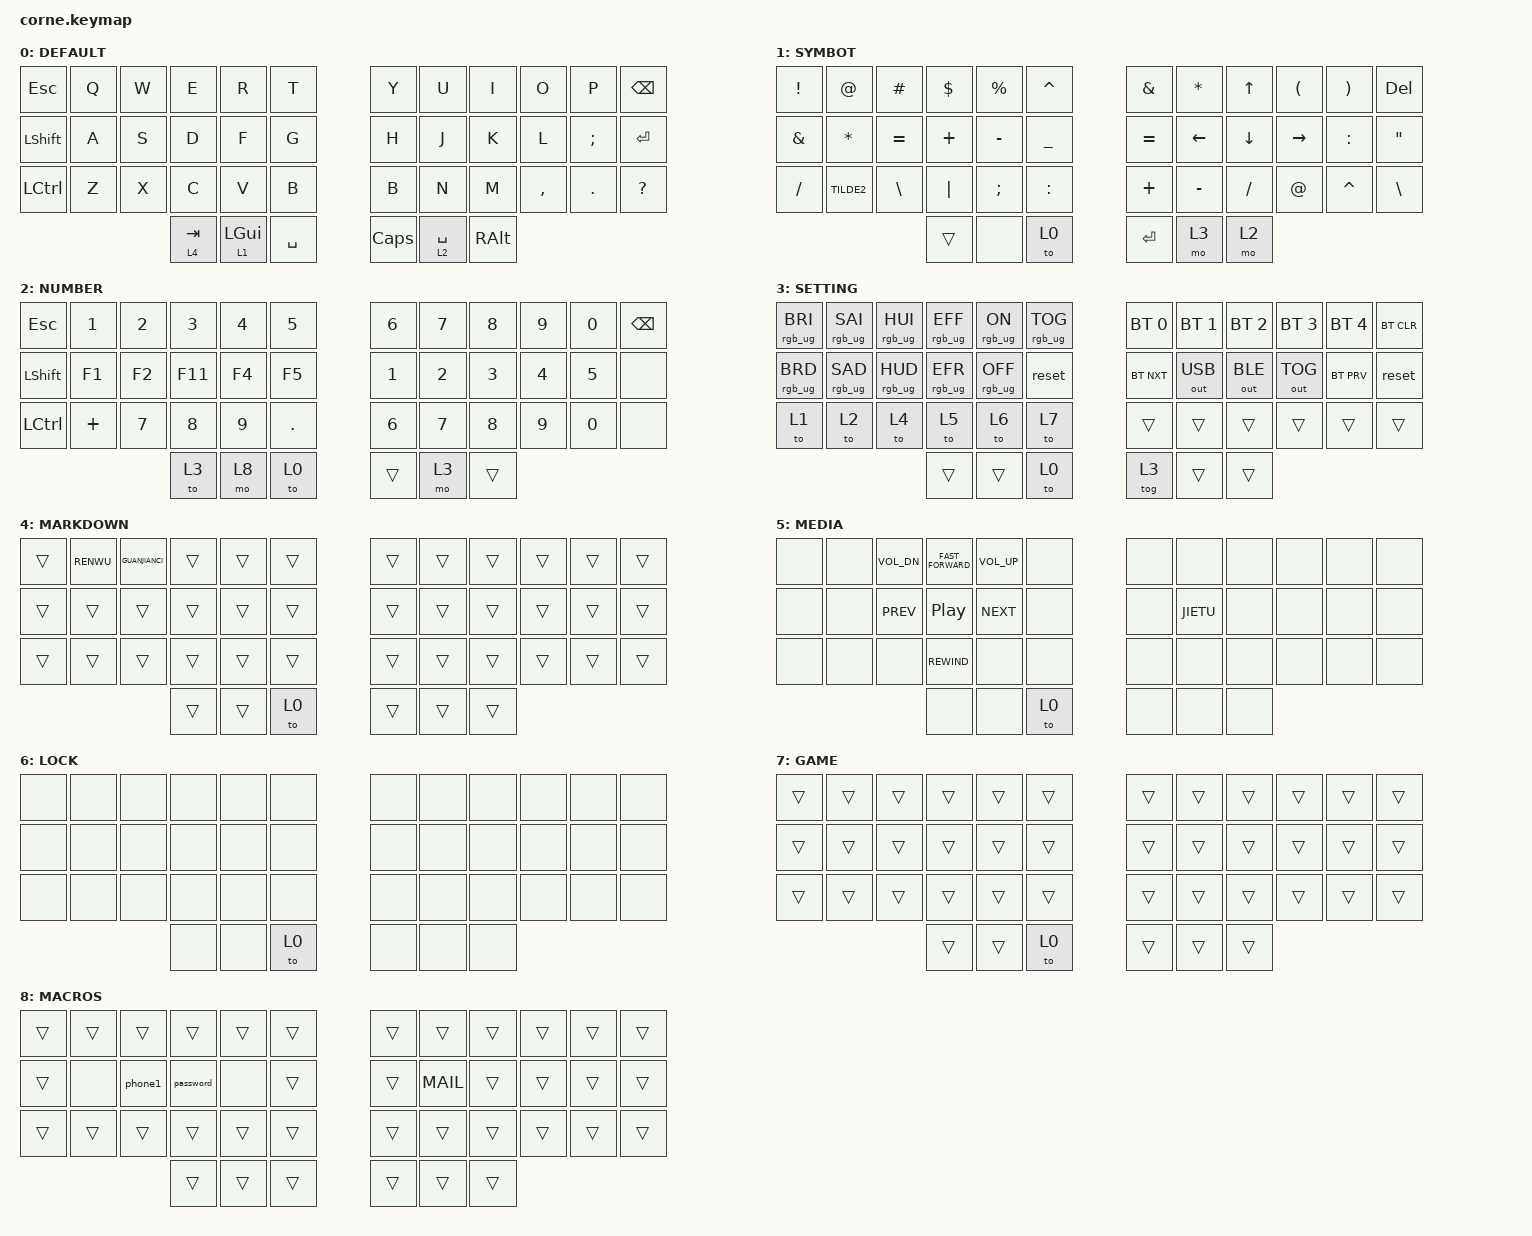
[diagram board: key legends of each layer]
/*
 * Copyright (c) 2020 The ZMK Contributors
 *
 * SPDX-License-Identifier: MIT
 */

#define DEFAULT  0
#define SYMBOT   1
#define NUMBER   2
#define SETTING  3
#define MARKDOWN 4
#define MEDIA    5
#define LOCK     6
#define GAME     7
#define MACROS   8

#include <behaviors.dtsi>
#include <dt-bindings/zmk/keys.h>
#include <dt-bindings/zmk/rgb.h>
#include <dt-bindings/zmk/bt.h>
#include <dt-bindings/zmk/outputs.h>

/ {
    behaviors {
        hm: homerow_mods {
            compatible = "zmk,behavior-hold-tap";
            label = "HOMEROW_MODS";
            #binding-cells = <2>;
            tapping-term-ms = <150>;
            quick-tap-ms = <0>;
            flavor = "tap-preferred";
            bindings =
                <&kp>,
                <&kp>;
        };
    };

    combos {
        compatible = "zmk,combos";

        tab {
            bindings = <&kp TAB>;
            key-positions = <0 1>;
            timeout-ms = <50>;
        };

        esc {
            bindings = <&kp ESC>;
            key-positions = <12 13>;
            timeout-ms = <50>;
        };

        up {
            bindings = <&kp UP>;
            key-positions = <7 8>;
            layers = <0 2>;
            timeout-ms = <50>;
        };

        down {
            bindings = <&kp DOWN>;
            key-positions = <31 32>;
            timeout-ms = <50>;
        };

        left {
            bindings = <&kp LEFT>;
            key-positions = <18 19>;
            layers = <0 2>;
            timeout-ms = <50>;
        };

        right {
            bindings = <&kp RIGHT>;
            key-positions = <20 21>;
            layers = <0 2>;
            timeout-ms = <50>;
        };

        mail {
            bindings = <&MAIL>;
            key-positions = <19 20 21>;
            timeout-ms = <50>;
        };

        phone1 {
            bindings = <&phone1>;
            key-positions = <37 11>;
            timeout-ms = <50>;
        };

        password {
            bindings = <&password>;
            key-positions = <2 3 4>;
        };
    };

    macros {
        JIETU: JIETU {
            compatible = "zmk,behavior-macro";
            label = "new_macro";
            #binding-cells = <0>;
            bindings =
                <&macro_press>,
                <&kp RCTRL &kp LEFT_ALT &kp A>;
        };
        RENWU: RENWU {
            compatible = "zmk,behavior-macro";
            label = "new_macro";
            #binding-cells = <0>;
            bindings = <&kp PLUS &kp SPACE &kp LEFT_BRACKET &kp RIGHT_BRACKET &kp SPACE>;
        };
        GUANJIANCI: GUANJIANCI {
            compatible = "zmk,behavior-macro";
            label = "new_macro";
            #binding-cells = <0>;
            bindings = <&kp LSHIFT &kp LBKT &kp RBKT &kp LEFT &kp LSHIFT>;
        };
        MAIL: MAIL {
            compatible = "zmk,behavior-macro";
            label = "new_macro";
            #binding-cells = <0>;
            bindings = <&kp AT_SIGN &kp M &kp O &kp Z &kp I &kp X &kp U &kp N &kp PERIOD &kp C &kp O &kp M>;
        };
        phone1: phone1 {
            compatible = "zmk,behavior-macro";
            label = "new_macro";
            #binding-cells = <0>;
            bindings = <&kp N1 &kp N5 &kp N5 &kp N6 &kp N7 &kp N8 &kp N1 &kp N2 &kp N1 &kp N1 &kp N6>;
        };
        password: password {
            compatible = "zmk,behavior-macro";
            label = "new_macro";
            #binding-cells = <0>;
            bindings = <&kp W &kp O &kp A &kp N &kp N1 &kp N9 &kp N9 &kp N5>;
        };
    };

    keymap {
        compatible = "zmk,keymap";

        DEFAULT {
            label = "DEFAULT";
            bindings = <
   &kp ESC  &kp Q  &kp W      &kp E       &kp R      &kp T       &kp Y        &kp U     &kp I      &kp O     &kp P   &kp BSPC
&kp LSHIFT  &kp A  &kp S      &kp D       &kp F      &kp G       &kp H        &kp J     &kp K      &kp L  &kp SEMI    &kp RET
 &kp LCTRL  &kp Z  &kp X      &kp C       &kp V      &kp B       &kp B        &kp N     &kp M  &kp COMMA   &kp DOT  &kp QMARK
                          &lt 4 TAB  &lt 1 LGUI  &kp SPACE    &kp CAPS  &lt 2 SPACE  &kp RALT
            >;
        };

        SYMBOT {
            label = "SYMBOT";
            bindings = <
&kp EXCL  &kp AT_SIGN   &kp HASH  &kp DLLR  &kp PRCNT  &kp CARET     &kp AMPS   &kp STAR    &kp UP     &kp LPAR   &kp RPAR            &kp DEL
&kp AMPS     &kp STAR  &kp EQUAL  &kp PLUS  &kp MINUS  &kp UNDER    &kp EQUAL   &kp LEFT  &kp DOWN    &kp RIGHT  &kp COLON  &kp DOUBLE_QUOTES
&kp FSLH   &kp TILDE2   &kp BSLH  &kp PIPE   &kp SEMI  &kp COLON     &kp PLUS  &kp MINUS  &kp FSLH  &kp AT_SIGN  &kp CARET           &kp BSLH
                                    &trans      &none      &to 0    &kp ENTER      &mo 3     &mo 2
            >;
        };

        NUMBER {
            label = "NUMBER";
            bindings = <
       &kp ESC  &kp NUMBER_1  &kp NUMBER_2  &kp NUMBER_3  &kp NUMBER_4  &kp NUMBER_5    &kp NUMBER_6  &kp NUMBER_7  &kp NUMBER_8  &kp NUMBER_9  &kp NUMBER_0  &kp BSPC
&kp LEFT_SHIFT        &kp F1        &kp F2       &kp F11        &kp F4        &kp F5    &kp NUMBER_1  &kp NUMBER_2  &kp NUMBER_3  &kp NUMBER_4  &kp NUMBER_5     &none
     &kp LCTRL      &kp PLUS        &kp N7        &kp N8        &kp N9       &kp DOT    &kp NUMBER_6  &kp NUMBER_7  &kp NUMBER_8  &kp NUMBER_9  &kp NUMBER_0     &none
                                                   &to 3         &mo 8         &to 0          &trans         &mo 3        &trans
            >;
        };

        SETTING {
            label = "SETTING";
            bindings = <
&rgb_ug RGB_BRI  &rgb_ug RGB_SAI  &rgb_ug RGB_HUI  &rgb_ug RGB_EFF   &rgb_ug RGB_ON  &rgb_ug RGB_TOG    &bt BT_SEL 0  &bt BT_SEL 1  &bt BT_SEL 2  &bt BT_SEL 3  &bt BT_SEL 4  &bt BT_CLR
&rgb_ug RGB_BRD  &rgb_ug RGB_SAD  &rgb_ug RGB_HUD  &rgb_ug RGB_EFR  &rgb_ug RGB_OFF           &reset      &bt BT_NXT  &out OUT_USB  &out OUT_BLE  &out OUT_TOG    &bt BT_PRV      &reset
          &to 1            &to 2            &to 4            &to 5            &to 6            &to 7          &trans        &trans        &trans        &trans        &trans      &trans
                                                            &trans           &trans            &to 0          &tog 3        &trans        &trans
            >;
        };

        MARKDOWN {
            label = "MARKDOWN";
            bindings = <
&trans  &RENWU  &GUANJIANCI  &trans  &trans  &trans    &trans  &trans  &trans  &trans  &trans  &trans
&trans  &trans       &trans  &trans  &trans  &trans    &trans  &trans  &trans  &trans  &trans  &trans
&trans  &trans       &trans  &trans  &trans  &trans    &trans  &trans  &trans  &trans  &trans  &trans
                             &trans  &trans   &to 0    &trans  &trans  &trans
            >;
        };

        MEDIA {
            label = "MEDIA";
            bindings = <
&none  &none  &kp C_VOL_DN  &kp C_FAST_FORWARD  &kp C_VOL_UP  &none    &none   &none  &none  &none  &none  &none
&none  &none    &kp C_PREV    &kp C_PLAY_PAUSE    &kp C_NEXT  &none    &none  &JIETU  &none  &none  &none  &none
&none  &none         &none        &kp C_REWIND         &none  &none    &none   &none  &none  &none  &none  &none
                                         &none         &none  &to 0    &none   &none  &none
            >;
        };

        LOCK {
            label = "LOCK";
            bindings = <
&none  &none  &none  &none  &none  &none    &none  &none  &none  &none  &none  &none
&none  &none  &none  &none  &none  &none    &none  &none  &none  &none  &none  &none
&none  &none  &none  &none  &none  &none    &none  &none  &none  &none  &none  &none
                     &none  &none  &to 0    &none  &none  &none
            >;
        };

        GAME {
            label = "GAME";
            bindings = <
&trans  &trans  &trans  &trans  &trans  &trans    &trans  &trans  &trans  &trans  &trans  &trans
&trans  &trans  &trans  &trans  &trans  &trans    &trans  &trans  &trans  &trans  &trans  &trans
&trans  &trans  &trans  &trans  &trans  &trans    &trans  &trans  &trans  &trans  &trans  &trans
                        &trans  &trans   &to 0    &trans  &trans  &trans
            >;
        };

        MACROS {
            label = "MACROS";
            bindings = <
&trans  &trans   &trans     &trans  &trans  &trans    &trans  &trans  &trans  &trans  &trans  &trans
&trans   &none  &phone1  &password   &none  &trans    &trans   &MAIL  &trans  &trans  &trans  &trans
&trans  &trans   &trans     &trans  &trans  &trans    &trans  &trans  &trans  &trans  &trans  &trans
                            &trans  &trans  &trans    &trans  &trans  &trans
            >;
        };
    };
};
